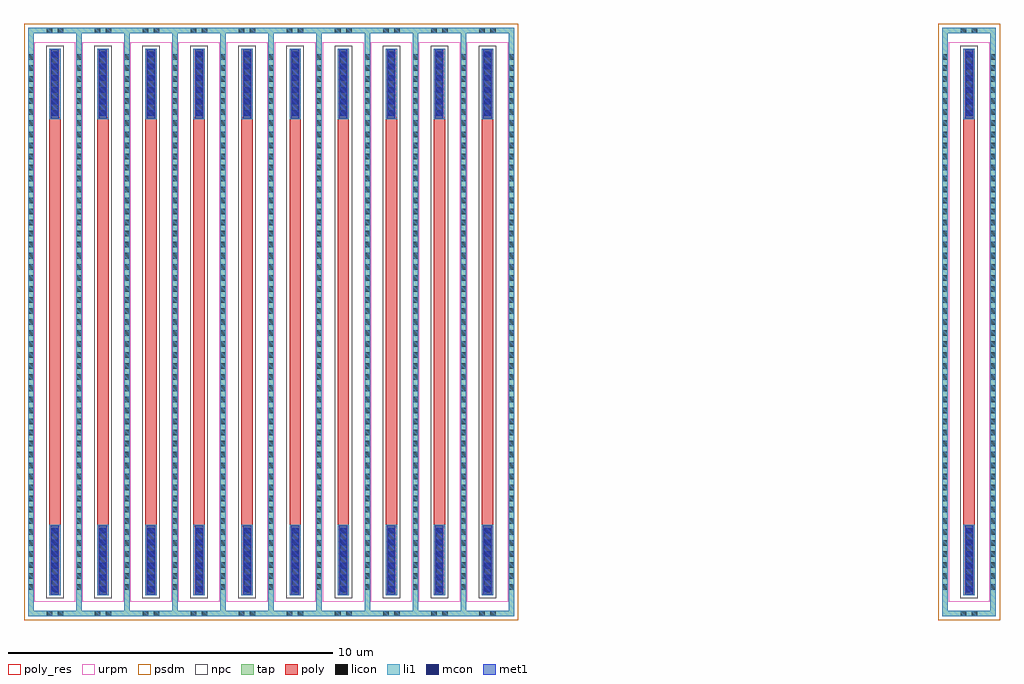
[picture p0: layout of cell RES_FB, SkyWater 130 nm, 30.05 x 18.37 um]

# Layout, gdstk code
import gdstk
lib = gdstk.Library(unit=1e-6, precision=1e-09)
def R(c, l, rs):  # rectangles x0, y0, x1, y1
    for r in rs: c.add(gdstk.rectangle(r[:2], r[2:], *l))
def A(c, l, x, y, w, h, nx, ny, dx, dy):  # array of equal rectangles
    R(c, l, [(x+i*dx, y+j*dy, x+i*dx+w, y+j*dy+h) for i in range(nx) for j in range(ny)])
tap = (65, 44)
poly_res = (66, 13)
poly = (66, 20)
licon = (66, 44)
li1 = (67, 20)
mcon = (67, 44)
met1 = (68, 20)
urpm = (79, 20)
psdm = (94, 20)
npc = (95, 20)

res_poly = lib.new_cell('res_poly')
R(res_poly, tap, [(-0.825,-9.06,0.825,-8.89), (-0.825,-8.89,-0.655,8.89), (0.655,-8.89,0.825,8.89), (-0.825,8.89,0.825,9.06)])
R(res_poly, poly_res, [(-0.175,-6.31,0.175,6.31)])
R(res_poly, poly, [(-0.175,-8.41,0.175,8.41)])
A(res_poly, licon, -0.825, -8.245, 0.17, 0.17, 1, 49, 0, 0.34)
A(res_poly, licon, 0.655, -8.245, 0.17, 0.17, 1, 49, 0, 0.34)
R(res_poly, licon, [(-0.255,-9.06,-0.085,-8.89), (0.085,-9.06,0.255,-8.89), (-0.095,-8.33,0.095,-6.33), (-0.095,6.33,0.095,8.33), (-0.255,8.89,-0.085,9.06), (0.085,8.89,0.255,9.06)])
R(res_poly, li1, [(-0.825,-9.06,0.825,-8.89), (-0.825,-8.89,-0.655,8.89), (0.655,-8.89,0.825,8.89), (-0.175,-8.41,0.175,-6.25), (-0.175,6.25,0.175,8.41), (-0.825,8.89,0.825,9.06)])
A(res_poly, mcon, -0.085, -8.31, 0.17, 0.17, 1, 6, 0, 0.36)
A(res_poly, mcon, -0.085, 6.345, 0.17, 0.17, 1, 6, 0, 0.36)
R(res_poly, met1, [(-0.125,-8.38,0.125,-6.275), (-0.125,6.275,0.125,8.38)])
R(res_poly, urpm, [(-0.635,-8.61,0.635,8.61)])
R(res_poly, psdm, [(-0.95,-9.185,0.95,9.185)])
R(res_poly, npc, [(-0.27,-8.505,0.27,8.505)])

res_fb = lib.new_cell('RES_FB')
res_fb.add(gdstk.Reference(res_poly, (-18.33,13.02)))
res_fb.add(gdstk.Reference(res_poly, (-16.85,13.02)))
res_fb.add(gdstk.Reference(res_poly, (-13.89,13.02)))
res_fb.add(gdstk.Reference(res_poly, (-12.41,13.02)))
res_fb.add(gdstk.Reference(res_poly, (-15.37,13.02)))
res_fb.add(gdstk.Reference(res_poly, (-9.45,13.02)))
res_fb.add(gdstk.Reference(res_poly, (-7.97,13.02)))
res_fb.add(gdstk.Reference(res_poly, (-6.49,13.02)))
res_fb.add(gdstk.Reference(res_poly, (-10.93,13.02)))
res_fb.add(gdstk.Reference(res_poly, (-19.81,13.02)))
res_fb.add(gdstk.Reference(res_poly, (8.34,13.02)))

lib.write_gds('RES_FB.gds')
